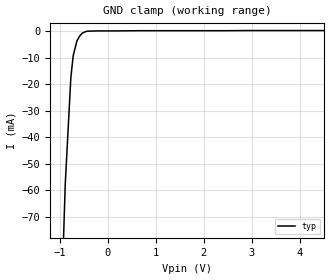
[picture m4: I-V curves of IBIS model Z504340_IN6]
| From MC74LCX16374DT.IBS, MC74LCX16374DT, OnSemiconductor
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| (C) COPYRIGHT 1993-2000
| MENTOR GRAPHICS CORPORATION
| ICX STANDARD LIBRARY, ICX PROJECT MODELING,
| ICX CUSTOM MODELING, ICX VENDOR MODEL
| ALL RIGHTS RESERVED.
| THE FOLLOWING ARE TRADEMARKS OR SERVICE MARKS OF
| MENTOR GRAPHICS CORPORATION:ICX (R), ICX STANDARD
| LIBRARY(R), ICX PROJECT MODELING(R), ICX CUSTOM
| MODELING(R), qualityIBIS(TM), MODELVIEWER(TM),
| AND MODELEDITOR(TM)
| ALL COPIES OF SOFTWARE, INCLUDING BUT NOT LIMITED TO
| ANY MODIFICATIONS, ENHANCEMENTS OR DERIVATIVE WORKS,
| MUST CONTAIN ALL MENTOR GRAPHICS CORPORATION'S
| NOTICES AND LEGENDS, INCLUDING THOSE EMBEDDED IN
| SOFTWARE AND THOSE AFFIXED TO SOFTWARE MEDIUM
| AND CONTAINER, AS RECEIVED FROM MENTOR GRAPHICS
| CORPORATION.
| Model Application Version 1.89 2/18/99.
[Model] Z504340_IN6
Model_type Input
Vinl = 800.0mV
Vinh = 2.000V
C_comp 4.000pF NA NA
| variable typ   min   max
[Voltage Range] 3.300V NA NA
[GND Clamp Reference] 0.000V NA NA
[POWER Clamp Reference] 3.300V NA NA
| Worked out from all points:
|   GND clamp passes 1 mA (typ) near -0.55 V on its own axis
[GND Clamp]
-3.3V     -1.792A    NA         NA
-1.035V   -142.6mA   NA         NA
-888.4mV  -57.89mA   NA         NA
-771.5mV  -17.6mA    NA         NA
-722.4mV  -9.264mA   NA         NA
-644.5mV  -3.673mA   NA         NA
-587.7mV  -1.843mA   NA         NA
-532.1mV  -722.2uA   NA         NA
-468.8mV  -208.2uA   NA         NA
-214.8mV  107.3uA    NA         NA
684.6mV   186uA      NA         NA
6.6V      241uA      NA         NA
[POWER Clamp]
-3.3V     0A         NA         NA
6.6V      0A         NA         NA
